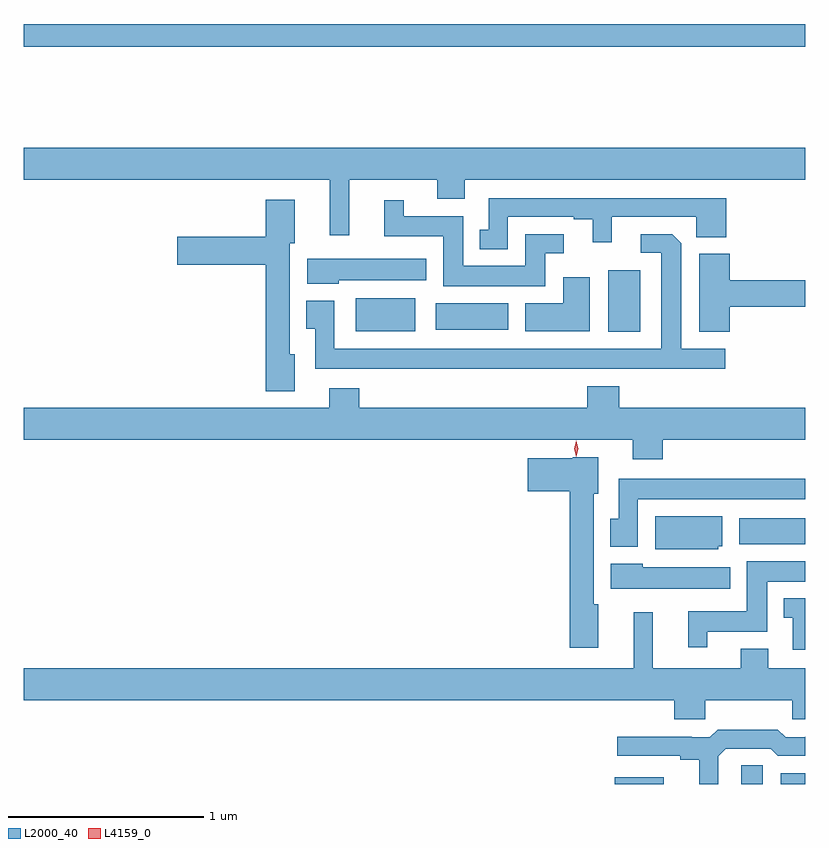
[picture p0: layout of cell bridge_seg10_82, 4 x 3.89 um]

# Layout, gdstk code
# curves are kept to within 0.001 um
import gdstk
lib = gdstk.Library(unit=1e-6, precision=1e-09)
def R(c, l, rs):  # rectangles x0, y0, x1, y1
    for r in rs: c.add(gdstk.rectangle(r[:2], r[2:], *l))
def P(c, l, *ps):  # polygons
    for p in ps: c.add(gdstk.Polygon(p, *l))
L2000_40 = (2000, 40)
L4159_0 = (4159, 0)

bridge_seg10_82 = lib.new_cell('bridge_seg10_82')
R(bridge_seg10_82, L2000_40, [(662.192,1251.935,662.443,1251.97), (662.838,1251.935,662.95,1252.031), (663.041,1251.935,663.167,1251.991), (662.829,1253.162,663.167,1253.296), (662.159,1254.248,662.323,1254.565), (660.866,1254.251,661.171,1254.421), (661.275,1254.26,661.648,1254.394), (659.167,1255.708,663.167,1255.824)])
P(bridge_seg10_82, L2000_40, [(660.833,1255.028),(661.283,1255.028),(661.283,1254.929),(661.423,1254.929),(661.423,1255.028),(663.167,1255.028),(663.167,1255.192),(659.167,1255.192),(659.167,1255.028),(660.734,1255.028),(660.734,1254.744),(660.833,1254.744)],
  [(661.644,1254.837),(661.982,1254.837),(661.982,1254.825),(662.078,1254.825),(662.078,1254.708),(662.176,1254.708),(662.176,1254.837),(662.61,1254.837),(662.61,1254.734),(662.762,1254.734),(662.762,1254.933),(661.548,1254.933),(661.548,1254.771),(661.502,1254.771),(661.502,1254.671),(661.644,1254.671)],
  [(660.553,1254.135),(660.529,1254.135),(660.529,1254.702),(660.553,1254.702),(660.553,1254.925),(660.407,1254.925),(660.407,1254.735),(659.952,1254.735),(659.952,1254.593),(660.407,1254.593),(660.407,1253.945),(660.553,1253.945)],
  [(661.837,1254.651),(661.93,1254.651),(661.93,1254.747),(661.733,1254.747),(661.733,1254.586),(661.417,1254.586),(661.417,1254.841),(661.111,1254.841),(661.111,1254.922),(661.013,1254.922),(661.013,1254.737),(661.313,1254.737),(661.313,1254.482),(661.837,1254.482)],
  [(662.758,1254.163),(662.533,1254.163),(662.532,1254.701),(662.486,1254.747),(662.325,1254.747),(662.325,1254.654),(662.429,1254.654),(662.429,1254.163),(660.756,1254.163),(660.756,1254.409),(660.614,1254.409),(660.614,1254.265),(660.659,1254.265),(660.659,1254.059),(662.758,1254.059)],
  [(662.78,1254.376),(663.167,1254.376),(663.167,1254.512),(662.78,1254.512),(662.78,1254.649),(662.624,1254.649),(662.624,1254.248),(662.78,1254.248)],
  [(660.78,1254.512),(661.228,1254.512),(661.228,1254.622),(660.618,1254.622),(660.618,1254.494),(660.78,1254.494)],
  [(662.065,1254.529),(661.928,1254.529),(661.928,1254.394),(661.733,1254.394),(661.733,1254.251),(662.065,1254.251)],
  [(662.438,1253.696),(663.167,1253.696),(663.167,1253.86),(662.216,1253.86),(662.216,1253.971),(662.051,1253.971),(662.051,1253.86),(660.884,1253.86),(660.884,1253.959),(660.731,1253.959),(660.731,1253.86),(659.167,1253.86),(659.167,1253.696),(662.285,1253.696),(662.285,1253.597),(662.438,1253.597)],
  [(662.107,1252.854),(662.083,1252.854),(662.083,1253.421),(662.107,1253.421),(662.107,1253.608),(661.977,1253.608),(661.977,1253.602),(661.746,1253.602),(661.746,1253.432),(661.961,1253.432),(661.961,1252.632),(662.107,1252.632)],
  [(662.31,1253.393),(663.167,1253.393),(663.167,1253.497),(662.213,1253.497),(662.213,1253.292),(662.168,1253.292),(662.168,1253.148),(662.31,1253.148)],
  [(662.721,1253.151),(662.743,1253.151),(662.743,1253.305),(662.399,1253.305),(662.399,1253.135),(662.721,1253.135)],
  [(662.665,1252.715),(662.971,1252.715),(662.971,1252.97),(663.167,1252.97),(663.167,1253.074),(662.867,1253.074),(662.867,1252.819),(662.567,1252.819),(662.567,1252.635),(662.665,1252.635)],
  [(662.782,1253.044),(662.334,1253.044),(662.334,1253.062),(662.172,1253.062),(662.172,1252.934),(662.782,1252.934)],
  [(663.167,1252.885),(663.056,1252.885),(663.056,1252.785),(663.102,1252.785),(663.102,1252.623),(663.167,1252.623)],
  [(662.655,1252.364),(663.1,1252.364),(663.1,1252.266),(663.167,1252.266),(663.167,1252.528),(662.977,1252.528),(662.977,1252.627),(662.837,1252.627),(662.837,1252.528),(662.387,1252.528),(662.387,1252.813),(662.288,1252.813),(662.288,1252.528),(659.167,1252.528),(659.167,1252.364),(662.495,1252.364),(662.495,1252.266),(662.655,1252.266)],
  [(662.721,1252.077),(662.76,1252.116),(662.991,1252.116),(663.027,1252.08),(663.167,1252.08),(663.167,1252.178),(663.166,1252.173),(663.066,1252.173),(663.027,1252.213),(662.719,1252.213),(662.679,1252.173),(662.585,1252.173),(662.585,1252.178),(662.205,1252.178),(662.205,1252.08),(662.528,1252.08),(662.528,1252.058),(662.624,1252.058),(662.624,1251.935),(662.721,1251.935)])
P(bridge_seg10_82, L4159_0, [(661.994,1253.61),(661.985,1253.651),(661.994,1253.692),(661.995,1253.692),(661.995,1253.692),(662.005,1253.651),(661.995,1253.61),(661.995,1253.61)])

lib.write_gds('bridge_seg10_82.gds')
